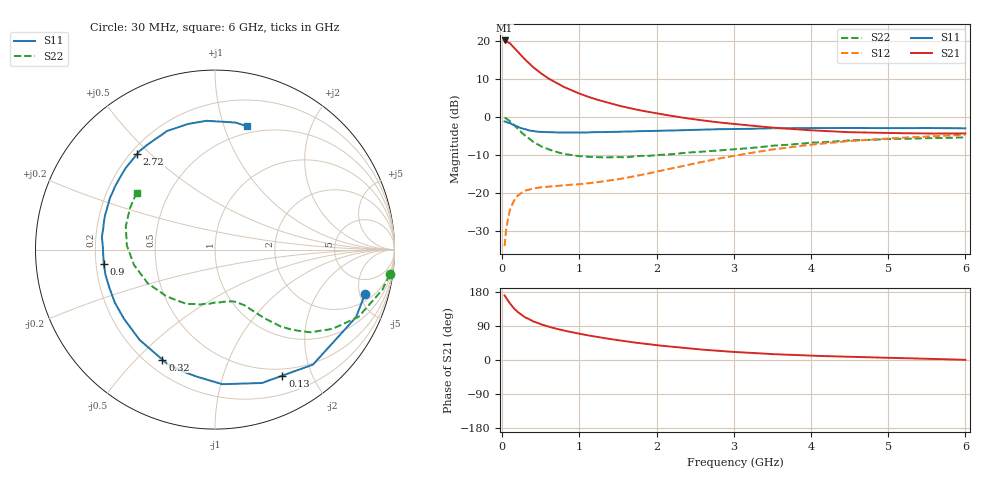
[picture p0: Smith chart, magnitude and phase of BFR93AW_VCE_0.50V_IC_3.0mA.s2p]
! Infineon Technologies  Discrete & RF Semiconductors
! BFR93AW
! VCE = 0.50 V,  IC =  3.0 mA
! Common Emitter S-Parameters:  Nov 2015
# GHz  S  MA  R  50
!  f  S11  S21  S12  S22
! GHz  MAG  ANG  MAG  ANG  MAG  ANG  MAG  ANG
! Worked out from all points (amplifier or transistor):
!   206 points, 30 MHz to 6 GHz, reference 50 ohm
!   highest |S21| = 20.1 dB at 30 MHz (marker M1)
!   |S21| within 3 dB of that: start of sweep to 203.7 MHz
!   unconditionally stable (mu >= 1): 1.021 GHz to 2.989 GHz; 4.797 GHz to end of sweep
!   at 200 MHz: K = 0.22, MSG = 19.0 dB, |S12| = -20.7 dB
!   at 1.56 GHz: K = 1.19, MAG = 6.8 dB, |S12| = -16.2 dB
!   at 6 GHz: K = 1.02, MAG = -0.8 dB, |S12| = -4.7 dB
!   S11 on the Smith chart (normalised r, x): 30 MHz: 2.74, -5.64; 130 MHz: 0.41, -1.59; 320 MHz: 0.26, -0.60; 900 MHz: 0.23, -0.06; 2.72 GHz: 0.23, +0.45; 6 GHz: 0.43, +1.20
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0.03  0.872 -16.4  10.16 170.3  0.02 79.5  0.9827 -8.1
0.05  0.8712 -25.6  10.03 163.6  0.0327 75.9  0.9596 -13.4
0.1  0.8418 -49.6  9.314 148.9  0.0602 64.1  0.883 -25.1
0.13  0.7963 -61.9  8.62 141.7  0.0712 57.5  0.8238 -30.3
0.15  0.7879 -70.6  8.243 136.3  0.079 54.1  0.7885 -34.1
0.165  0.7704 -75.3  7.927 133.6  0.0829 51.8  0.7615 -36.0
0.2  0.751 -86.9  7.265 126.6  0.0925 47.1  0.7021 -41.0
0.24  0.7151 -98.1  6.537 120.3  0.0993 42.7  0.6391 -44.8
0.3  0.6912 -112.3  5.641 112.1  0.1078 38.3  0.5651 -49.4
0.32  0.6791 -115.6  5.405 110.4  0.1091 37.4  0.5465 -50.2
0.4  0.6555 -129.8  4.521 101.9  0.1147 33.8  0.4731 -54.1
0.5  0.6371 -142.7  3.767 94.1  0.119 31.6  0.4125 -57.6
0.7  0.6258 -160.3  2.805 82.5  0.1244 30.9  0.3478 -62.6
0.9  0.625 -172.5  2.235 73.3  0.1289 32.7  0.3157 -67.8
1.04  0.6236 -179.4  1.964 67.8  0.1322 34.9  0.3034 -72.1
1.5  0.6414 163.2  1.419 52.3  0.1516 43.5  0.2972 -87.2
2.02  0.6594 147.1  1.106 38.6  0.193 50.9  0.3168 -105.3
2.72  0.6868 129.3  0.87 25.4  0.2733 52.5  0.3575 -128.8
3.1  0.6966 120.6  0.792 20.2  0.3213 50.2  0.3825 -140.6
4.1  0.7154 100.5  0.661 10.8  0.4426 39.1  0.4638 -172.1
5.1  0.7139 85.7  0.614 5.3  0.5287 26.1  0.5147 163.1
6  0.7098 75.3  0.608 0.5  0.5836 15.6  0.5398 144.1
